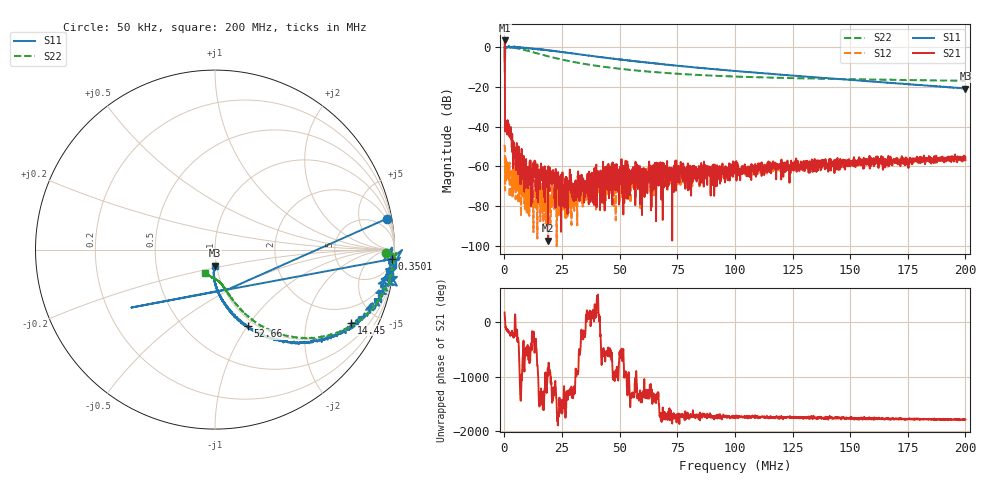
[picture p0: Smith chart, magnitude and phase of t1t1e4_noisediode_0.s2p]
! 27-Aug-26 2:15:52 PM
! E:\20260827_VNA\T1T1E4_NOISEDIODE_0.S2P
! CHANNEL.1
! TR.MEASUREMENT
! CORRECTED.DATA
# GHZ S RI R 50.0
! FREQ.GHZ  S11RE  S11IM  S21RE  S21IM  S12RE  S12IM  S22RE  S22IM
!; PortSelection: Port_12
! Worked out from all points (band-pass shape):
!   2000 points, 50 kHz to 200 MHz, reference 50 ohm
!   highest |S21| = 3.27 dB at 150 kHz (marker M1); lowest = -97.3 dB at 18.95 MHz (marker M2)
!   |S21| within 3 dB of the highest: 121 kHz to 156.6 kHz (35.68 kHz wide, 25.7 % of centre)
!   lowest |S11| = -20.9 dB at 200 MHz (marker M3), VSWR 1.20, Z = 49.2 - j8.9 ohm
!   |S11| at or under -10 dB: 128.5 kHz to 184.5 kHz (56.06 kHz wide, 35.8 % of centre); 80.22966 MHz to 80.44143 MHz (211.8 kHz wide, 0.264 % of centre); 80.63 MHz to end of sweep
!   |S22| runs from -17.0 to 0.1 dB; largest |S21 - S12| = 1.5
!   S11 on the Smith chart (normalised r, x): 50 kHz: 2, +11; 350.1 kHz: 8, -36; 14.45 MHz: 1.16, -3.64; 52.66 MHz: 0.92, -1.00; 200 MHz: 0.98, -0.18
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5e-05  0.9567 0.1722  -0.4354 0.0865  0.00271 0.00219  0.9509 -0.0186
0.000150025  0.0807 -0.2178  -0.2835 1.429  -0.000172 -0.00285  1.013 -0.0275
0.000350075  0.9874 -0.052  0.00334 -0.00669  -0.000687 -0.000183  0.9998 -0.0392
0.0012503  0.9627 -0.0467  -0.00466 -0.00419  -0.001 0.000601  0.9875 -0.0897
0.005051251  0.9899 -0.1986  -0.00205 0.00216  -0.000303 0.000606  0.8828 -0.3205
0.009552376  0.8905 -0.3297  -0.000218 0.000343  -4.3e-05 -0.000151  0.668 -0.4645
0.01335333  0.8086 -0.3808  0.000809 -0.00104  -0.000302 0.000258  0.5128 -0.4921
0.0144536  0.7588 -0.4067  -0.000116 -5.1e-05  -0.000149 8.01e-05  0.4738 -0.4909
0.01895473  0.6763 -0.483  -1.2e-06 1.36e-05  -0.000195 -3.9e-05  0.3498 -0.4657
0.02065515  0.6423 -0.49  0.000411 -0.000325  -0.000203 0.000274  0.3129 -0.4514
0.02635658  0.5195 -0.5186  -0.000463 -0.000109  -0.000231 3.08e-05  0.2254 -0.4056
0.03345835  0.3866 -0.5089  -0.000593 0.000135  -0.000189 3.14e-05  0.1613 -0.3506
0.03815953  0.3206 -0.4967  -0.00039 5.58e-05  0.000108 9.24e-05  0.1341 -0.3217
0.04006001  0.2988 -0.4899  0.00014 0.000203  -0.000381 0.000117  0.1251 -0.3126
0.05266316  0.1823 -0.4269  0.00018 0.000704  -0.000124 0.000594  0.0835 -0.2599
0.05586396  0.1576 -0.418  5e-07 0.000443  1.97e-05 0.000534  0.0769 -0.2501
0.06406601  0.1135 -0.3767  0.000586 0.000703  7.01e-05 0.00028  0.0624 -0.2287
0.06676668  0.1022 -0.3657  -0.000563 0.000322  2.62e-05 0.000425  0.0581 -0.223
0.100075  0.0236 -0.2507  0.00048 0.000919  0.000397 0.000799  0.023 -0.1799
0.1333833  -0.00204 -0.1761  0.00103 0.0011  0.00073 0.000898  -0.00404 -0.1615
0.1666917  -0.00585 -0.1262  0.0007 0.00072  0.00105 0.000714  -0.0298 -0.1471
0.2  9.56e-05 -0.0897  0.0014 0.000366  0.00159 0.000326  -0.0554 -0.1306
